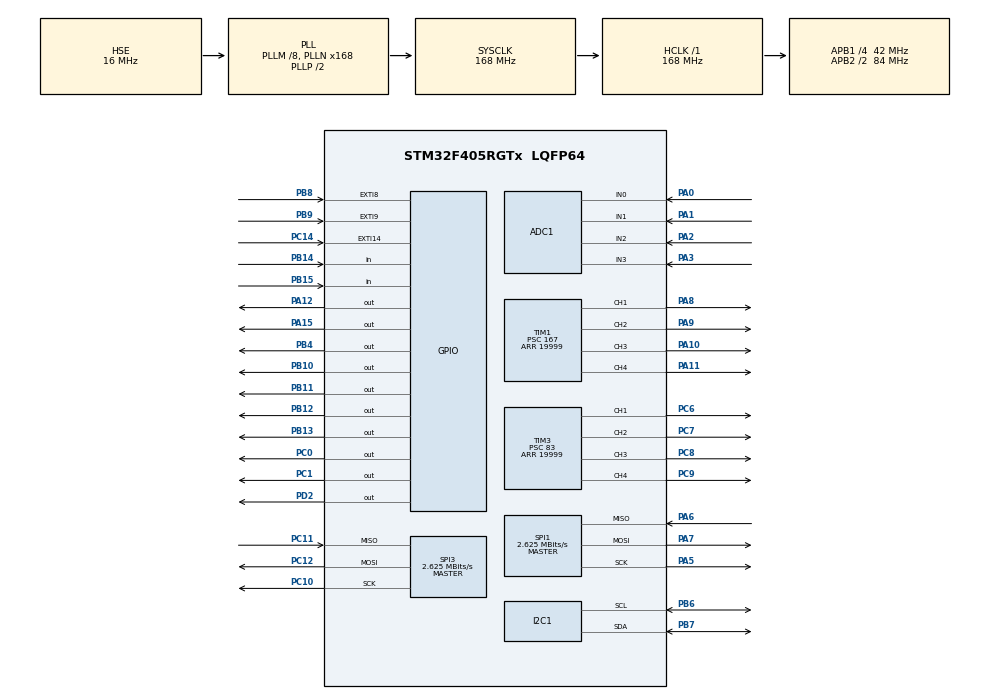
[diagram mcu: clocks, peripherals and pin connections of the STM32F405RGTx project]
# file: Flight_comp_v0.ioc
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ADC1.Channel-5\#ChannelRegularConversion=ADC_CHANNEL_0
ADC1.Channel-6\#ChannelRegularConversion=ADC_CHANNEL_1
ADC1.Channel-7\#ChannelRegularConversion=ADC_CHANNEL_2
ADC1.Channel-8\#ChannelRegularConversion=ADC_CHANNEL_3
ADC1.ClockPrescaler=ADC_CLOCK_SYNC_PCLK_DIV8
ADC1.ContinuousConvMode=DISABLE
ADC1.DMAContinuousRequests=ENABLE
ADC1.NbrOfConversion=4
ADC1.NbrOfConversionFlag=1
ADC1.Rank-5\#ChannelRegularConversion=1
ADC1.Rank-6\#ChannelRegularConversion=2
ADC1.Rank-7\#ChannelRegularConversion=3
ADC1.Rank-8\#ChannelRegularConversion=4
ADC1.SamplingTime-5\#ChannelRegularConversion=ADC_SAMPLETIME_15CYCLES
ADC1.SamplingTime-6\#ChannelRegularConversion=ADC_SAMPLETIME_15CYCLES
ADC1.SamplingTime-7\#ChannelRegularConversion=ADC_SAMPLETIME_15CYCLES
ADC1.SamplingTime-8\#ChannelRegularConversion=ADC_SAMPLETIME_15CYCLES
ADC1.master=1
Dma.ADC1.0.Direction=DMA_PERIPH_TO_MEMORY
Dma.ADC1.0.FIFOMode=DMA_FIFOMODE_DISABLE
Dma.ADC1.0.Instance=DMA2_Stream0
Dma.ADC1.0.MemDataAlignment=DMA_MDATAALIGN_HALFWORD
Dma.ADC1.0.MemInc=DMA_MINC_ENABLE
Dma.ADC1.0.Mode=DMA_CIRCULAR
Dma.ADC1.0.PeriphDataAlignment=DMA_PDATAALIGN_HALFWORD
Dma.ADC1.0.PeriphInc=DMA_PINC_DISABLE
Dma.ADC1.0.Priority=DMA_PRIORITY_LOW
Dma.Request0=ADC1
Dma.Request1=SPI3_RX
Dma.Request2=SPI3_TX
Dma.Request3=SPI1_RX
Dma.Request4=SPI1_TX
Dma.SPI1_RX.3.Direction=DMA_PERIPH_TO_MEMORY
Dma.SPI1_RX.3.FIFOMode=DMA_FIFOMODE_DISABLE
Dma.SPI1_RX.3.Instance=DMA2_Stream2
Dma.SPI1_RX.3.MemDataAlignment=DMA_MDATAALIGN_BYTE
Dma.SPI1_RX.3.MemInc=DMA_MINC_ENABLE
Dma.SPI1_RX.3.Mode=DMA_NORMAL
Dma.SPI1_RX.3.PeriphDataAlignment=DMA_PDATAALIGN_BYTE
Dma.SPI1_RX.3.PeriphInc=DMA_PINC_DISABLE
Dma.SPI1_RX.3.Priority=DMA_PRIORITY_HIGH
Dma.SPI1_TX.4.Direction=DMA_MEMORY_TO_PERIPH
Dma.SPI1_TX.4.FIFOMode=DMA_FIFOMODE_DISABLE
Dma.SPI1_TX.4.Instance=DMA2_Stream3
Dma.SPI1_TX.4.MemDataAlignment=DMA_MDATAALIGN_BYTE
Dma.SPI1_TX.4.MemInc=DMA_MINC_ENABLE
Dma.SPI1_TX.4.Mode=DMA_NORMAL
Dma.SPI1_TX.4.PeriphDataAlignment=DMA_PDATAALIGN_BYTE
Dma.SPI1_TX.4.PeriphInc=DMA_PINC_DISABLE
Dma.SPI1_TX.4.Priority=DMA_PRIORITY_HIGH
Dma.SPI3_RX.1.Direction=DMA_PERIPH_TO_MEMORY
Dma.SPI3_RX.1.FIFOMode=DMA_FIFOMODE_DISABLE
Dma.SPI3_RX.1.Instance=DMA1_Stream0
Dma.SPI3_RX.1.MemDataAlignment=DMA_MDATAALIGN_BYTE
Dma.SPI3_RX.1.MemInc=DMA_MINC_ENABLE
Dma.SPI3_RX.1.Mode=DMA_NORMAL
Dma.SPI3_RX.1.PeriphDataAlignment=DMA_PDATAALIGN_BYTE
Dma.SPI3_RX.1.PeriphInc=DMA_PINC_DISABLE
Dma.SPI3_RX.1.Priority=DMA_PRIORITY_HIGH
Dma.SPI3_TX.2.Direction=DMA_MEMORY_TO_PERIPH
Dma.SPI3_TX.2.FIFOMode=DMA_FIFOMODE_DISABLE
Dma.SPI3_TX.2.Instance=DMA1_Stream5
Dma.SPI3_TX.2.MemDataAlignment=DMA_MDATAALIGN_BYTE
Dma.SPI3_TX.2.MemInc=DMA_MINC_ENABLE
Dma.SPI3_TX.2.Mode=DMA_NORMAL
Dma.SPI3_TX.2.PeriphDataAlignment=DMA_PDATAALIGN_BYTE
Dma.SPI3_TX.2.PeriphInc=DMA_PINC_DISABLE
Dma.SPI3_TX.2.Priority=DMA_PRIORITY_HIGH
Mcu.Family=STM32F4
Mcu.Name=STM32F405RGTx
Mcu.Package=LQFP64
NVIC.DMA1_Stream0_IRQn=true\:0\:0\:false\:false\:true\:false\:true\:true
NVIC.DMA1_Stream5_IRQn=true\:0\:0\:false\:false\:true\:false\:true\:true
NVIC.DMA2_Stream0_IRQn=true\:0\:0\:false\:false\:true\:false\:true\:true
NVIC.DMA2_Stream2_IRQn=true\:0\:0\:false\:false\:true\:false\:true\:true
NVIC.DMA2_Stream3_IRQn=true\:0\:0\:false\:false\:true\:false\:true\:true
NVIC.EXTI15_10_IRQn=true\:0\:0\:false\:false\:true\:true\:true\:true
NVIC.EXTI9_5_IRQn=true\:0\:0\:false\:false\:true\:true\:true\:true
NVIC.PriorityGroup=NVIC_PRIORITYGROUP_4
PA0-WKUP.Signal=ADCx_IN0
PA1.Signal=ADCx_IN1
PA10.Signal=S_TIM1_CH3
PA11.Signal=S_TIM1_CH4
PA12.Signal=GPIO_Output
PA13.Mode=Trace_Asynchronous_SW
PA13.Signal=SYS_JTMS-SWDIO
PA14.Mode=Trace_Asynchronous_SW
PA14.Signal=SYS_JTCK-SWCLK
PA15.Signal=GPIO_Output
PA2.Signal=ADCx_IN2
PA3.Signal=ADCx_IN3
PA5.Mode=Full_Duplex_Master
PA5.Signal=SPI1_SCK
PA6.Mode=Full_Duplex_Master
PA6.Signal=SPI1_MISO
PA7.Mode=Full_Duplex_Master
PA7.Signal=SPI1_MOSI
PA8.Signal=S_TIM1_CH1
PA9.Signal=S_TIM1_CH2
PB10.Signal=GPIO_Output
PB11.Signal=GPIO_Output
PB12.Signal=GPIO_Output
PB13.Signal=GPIO_Output
PB14.GPIO_PuPd=GPIO_PULLDOWN
PB14.Signal=GPIO_Input
PB15.GPIO_PuPd=GPIO_PULLDOWN
PB15.Signal=GPIO_Input
PB3.Mode=Trace_Asynchronous_SW
PB3.Signal=SYS_JTDO-SWO
PB4.Signal=GPIO_Output
PB6.Mode=I2C
PB6.Signal=I2C1_SCL
PB7.Mode=I2C
PB7.Signal=I2C1_SDA
PB8.Signal=GPXTI8
PB9.GPIO_PuPd=GPIO_NOPULL
PB9.Signal=GPXTI9
PC0.Signal=GPIO_Output
PC1.Signal=GPIO_Output
PC10.Mode=Full_Duplex_Master
PC10.Signal=SPI3_SCK
PC11.Mode=Full_Duplex_Master
PC11.Signal=SPI3_MISO
PC12.Mode=Full_Duplex_Master
PC12.Signal=SPI3_MOSI
PC14-OSC32_IN.Signal=GPXTI14
PC6.Signal=S_TIM3_CH1
PC7.Signal=S_TIM3_CH2
PC8.Signal=S_TIM3_CH3
PC9.Signal=S_TIM3_CH4
PD2.Signal=GPIO_Output
PH0-OSC_IN.Mode=HSE-External-Clock-Source
PH0-OSC_IN.Signal=RCC_OSC_IN
PH1-OSC_OUT.Mode=HSE-External-Clock-Source
PH1-OSC_OUT.Signal=RCC_OSC_OUT
ProjectManager.HeapSize=0x200
ProjectManager.StackSize=0x400
ProjectManager.TargetToolchain=STM32CubeIDE
RCC.48MHZClocksFreq_Value=84000000
RCC.AHBFreq_Value=168000000
RCC.APB1CLKDivider=RCC_HCLK_DIV4
RCC.APB1Freq_Value=42000000
RCC.APB1TimFreq_Value=84000000
RCC.APB2CLKDivider=RCC_HCLK_DIV2
RCC.APB2Freq_Value=84000000
RCC.APB2TimFreq_Value=168000000
RCC.CortexFreq_Value=168000000
RCC.HCLKFreq_Value=168000000
RCC.HSE_VALUE=16000000
RCC.HSI_VALUE=16000000
RCC.LSE_VALUE=32768
RCC.PLLM=8
RCC.PLLN=168
RCC.PLLSourceVirtual=RCC_PLLSOURCE_HSE
RCC.SYSCLKFreq_VALUE=168000000
RCC.SYSCLKSource=RCC_SYSCLKSOURCE_PLLCLK
RCC.VCOOutputFreq_Value=336000000
SH.ADCx_IN0.0=ADC1_IN0,IN0
SH.ADCx_IN1.0=ADC1_IN1,IN1
SH.ADCx_IN2.0=ADC1_IN2,IN2
SH.ADCx_IN3.0=ADC1_IN3,IN3
SH.S_TIM1_CH1.0=TIM1_CH1,PWM Generation1 CH1
SH.S_TIM1_CH2.0=TIM1_CH2,PWM Generation2 CH2
SH.S_TIM1_CH3.0=TIM1_CH3,PWM Generation3 CH3
SH.S_TIM1_CH4.0=TIM1_CH4,PWM Generation4 CH4
SH.S_TIM3_CH1.0=TIM3_CH1,PWM Generation1 CH1
SH.S_TIM3_CH2.0=TIM3_CH2,PWM Generation2 CH2
SH.S_TIM3_CH3.0=TIM3_CH3,PWM Generation3 CH3
SH.S_TIM3_CH4.0=TIM3_CH4,PWM Generation4 CH4
SPI1.BaudRatePrescaler=SPI_BAUDRATEPRESCALER_32
SPI1.CalculateBaudRate=2.625 MBits/s
SPI1.Direction=SPI_DIRECTION_2LINES
SPI1.Mode=SPI_MODE_MASTER
SPI1.VirtualType=VM_MASTER
SPI3.BaudRatePrescaler=SPI_BAUDRATEPRESCALER_16
SPI3.CalculateBaudRate=2.625 MBits/s
SPI3.Direction=SPI_DIRECTION_2LINES
SPI3.Mode=SPI_MODE_MASTER
SPI3.VirtualType=VM_MASTER
TIM1.Channel-PWM\ Generation1\ CH1=TIM_CHANNEL_1
TIM1.Channel-PWM\ Generation2\ CH2=TIM_CHANNEL_2
TIM1.Channel-PWM\ Generation3\ CH3=TIM_CHANNEL_3
TIM1.Channel-PWM\ Generation4\ CH4=TIM_CHANNEL_4
TIM1.Period=19999
TIM1.Prescaler=167
TIM2.Period=0xFFFFFFFF
TIM2.Prescaler=83
TIM3.Channel-PWM\ Generation1\ CH1=TIM_CHANNEL_1
TIM3.Channel-PWM\ Generation2\ CH2=TIM_CHANNEL_2
TIM3.Channel-PWM\ Generation3\ CH3=TIM_CHANNEL_3
TIM3.Channel-PWM\ Generation4\ CH4=TIM_CHANNEL_4
TIM3.Period=19999
TIM3.Prescaler=83
VP_FATFS_VS_Generic.Mode=User_defined
VP_TIM1_VS_ClockSourceINT.Mode=Internal
VP_TIM2_VS_ClockSourceINT.Mode=Internal
VP_TIM3_VS_ClockSourceINT.Mode=Internal
board=custom

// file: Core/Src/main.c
/* USER CODE BEGIN Header */
/**
  ******************************************************************************
  * @file           : main.c
  * @brief          : Main program body
  ******************************************************************************
  * @attention
  *
  * Copyright (c) 2025 STMicroelectronics.
  * All rights reserved.
  *
  * This software is licensed under terms that can be found in the LICENSE file
  * in the root directory of this software component.
  * If no LICENSE file comes with this software, it is provided AS-IS.
  *
  ******************************************************************************
  */
/* USER CODE END Header */
#include "main.h"
#include "fatfs.h"

/* USER CODE BEGIN Includes */
#include "ff.h"
#include <stdio.h>
#include <string.h>
#include <stdarg.h>
#include "trinityfunctions.h"
/* USER CODE END Includes */

ADC_HandleTypeDef hadc1;
DMA_HandleTypeDef hdma_adc1;

I2C_HandleTypeDef hi2c1;

SPI_HandleTypeDef hspi1;
SPI_HandleTypeDef hspi3;
DMA_HandleTypeDef hdma_spi1_rx;
DMA_HandleTypeDef hdma_spi1_tx;
DMA_HandleTypeDef hdma_spi3_rx;
DMA_HandleTypeDef hdma_spi3_tx;

TIM_HandleTypeDef htim1;
TIM_HandleTypeDef htim2;
TIM_HandleTypeDef htim3;

void SystemClock_Config(void);
static void MX_GPIO_Init(void);
static void MX_DMA_Init(void);
static void MX_TIM1_Init(void);
static void MX_TIM3_Init(void);
static void MX_SPI1_Init(void);
static void MX_SPI3_Init(void);
static void MX_ADC1_Init(void);
static void MX_I2C1_Init(void);
static void MX_TIM2_Init(void);

/* USER CODE BEGIN 0 */
#define PI 3.1415926535897932384626433832795

uint8_t IMU_tag_buff[15] = {}; //temp, acc, gyro
uint8_t Bar_pt_buff[6] = {};
float gyro[3] = {0};//body frame
float gyro_offset[3] = {};
float acc_raw[3] = {};
float acc[3] = {0,0,9.80665};//body frame. initialized like this since it goes through a complementary filter
float acc_earth[3] = {};//earth frame
float vel_earth[3] = {};//earth frame
float pos_earth[3] = {};//earth frame
float acc_offset[4] = {};//offset x,y,z and norm

float body_quat[4] = {1,0,0,0};
float target_quat[4] = {1,0,0,0};
float target_gyro[3] = {};
float relative_quat[4]; //quaternion that represents the relative rotation between the body and target quaternions. Specifically, relative = quat_multiply(body,conj(target))
float axang[4] = {};

float thetas[3] = {};
float gammas[3] = {};
float Forces[3] = {};//{12,12,12};
float ReqTorque[3] = {};
float diff = 0;

float alt = 0;//bar alt
float filtered_alt = 0;
#define ADC_CHANNEL_COUNT 4
float voltages[ADC_CHANNEL_COUNT] = {};        // Converted voltages
long counter = 0;

uint8_t TxBufA_with_cmd[4+256] = {0x02}; //tx flash buffers: 1*(cmd) + 3*(mem addr) + 256*(data)
uint8_t TxBufB_with_cmd[4+256] = {0x02};
uint8_t* TxBufA = TxBufA_with_cmd + 4;
uint8_t* TxBufB = TxBufB_with_cmd + 4;

uint8_t FastRxBufA_with_cmd[5+256] = {}; //FAST READ ONLY rx flash buffers: 1*(cmd) + 3*(mem addr) + 1*(dummy) + any_amount*(data) , in this case 256 data
uint8_t FastRxBufB_with_cmd[5+256] = {};
uint8_t* FastRxBufA = FastRxBufA_with_cmd + 5;
uint8_t* FastRxBufB = FastRxBufB_with_cmd + 5;

uint8_t RxBufA_with_cmd[4+256] = {}; //standard read rx flash buffers: 1*(cmd) + 3*(mem addr) + any_amount*(data) , in this case 256 data
uint8_t RxBufB_with_cmd[4+256] = {};
uint8_t* RxBufA = RxBufA_with_cmd + 4;
uint8_t* RxBufB = RxBufB_with_cmd + 4;

typedef enum {
	NOT_LOGGING,
	LOGGING_FLASH,
	LOGGING_SD
} LoggingState;
LoggingState loggingstate = NOT_LOGGING; //d

typedef enum {
	IDLE,
	VECTORING,
	ASCENT,
	DESCENT
} RocketState;
RocketState rocketstate = IDLE;

/* USER CODE END 0 */

int main(void)
{

  /* MCU Configuration--------------------------------------------------------*/

  /* Reset of all peripherals, Initializes the Flash interface and the Systick. */
  HAL_Init();

  /* Configure the system clock */
  SystemClock_Config();

  /* Initialize all configured peripherals */
  MX_GPIO_Init();
  MX_DMA_Init();
  MX_TIM1_Init();
  MX_TIM3_Init();
  MX_SPI1_Init();
  MX_FATFS_Init();
  MX_SPI3_Init();
  MX_ADC1_Init();
  MX_I2C1_Init();
  MX_TIM2_Init();
  /* USER CODE BEGIN 2 */

  HAL_Delay(2000);
  HAL_TIM_PWM_Start(&htim3, TIM_CHANNEL_1);
  HAL_TIM_PWM_Start(&htim3, TIM_CHANNEL_2);
  HAL_TIM_PWM_Start(&htim3, TIM_CHANNEL_3);
  HAL_TIM_PWM_Start(&htim3, TIM_CHANNEL_4);
  HAL_TIM_PWM_Start(&htim1, TIM_CHANNEL_1);
  HAL_TIM_PWM_Start(&htim1, TIM_CHANNEL_2);
  HAL_TIM_PWM_Start(&htim1, TIM_CHANNEL_3);//chute

  //HAL_TIM_PWM_Start(&htim1, TIM_CHANNEL_3);

  HAL_TIM_Base_Start(&htim2); //timer to count microseconds

  uint16_t adc_dma_buf[ADC_CHANNEL_COUNT] = {};  // Raw ADC data
  HAL_ADC_Start_DMA(&hadc1, adc_dma_buf, ADC_CHANNEL_COUNT);

  int16_t temp_raw = 0;
  float temperature;
  float temperature_bar;

  HAL_GPIO_WritePin(GPIOC, GPIO_PIN_1, GPIO_PIN_SET);  //chip select Barometer
  HAL_GPIO_WritePin(GPIOC, GPIO_PIN_0, GPIO_PIN_SET);  //chip select IMU
  HAL_GPIO_WritePin(GPIOB, GPIO_PIN_10, GPIO_PIN_SET); //chip select NOR Flash
  HAL_GPIO_WritePin(GPIOB, GPIO_PIN_11, GPIO_PIN_SET); //chip select SD

  HAL_GPIO_WritePin(GPIOB, GPIO_PIN_12, GPIO_PIN_RESET); //output to pad pb12
  HAL_GPIO_WritePin(GPIOB, GPIO_PIN_13, GPIO_PIN_RESET); //output to pad pb13

  HAL_GPIO_WritePin(GPIOB, GPIO_PIN_4, GPIO_PIN_SET); //YELLOW LED ON TO SIGNAL HOLDING

  __HAL_TIM_SET_COMPARE(&htim1, TIM_CHANNEL_3, 1900);//close chute

  /*
██╗  ██╗ ██████╗ ██╗     ██████╗ ██╗███╗   ██╗ ██████╗
██║  ██║██╔═══██╗██║     ██╔══██╗██║████╗  ██║██╔════╝
███████║██║   ██║██║     ██║  ██║██║██╔██╗ ██║██║  ███╗
██╔══██║██║   ██║██║     ██║  ██║██║██║╚██╗██║██║   ██║
██║  ██║╚██████╔╝███████╗██████╔╝██║██║ ╚████║╚██████╔╝
╚═╝  ╚═╝ ╚═════╝ ╚══════╝╚═════╝ ╚═╝╚═╝  ╚═══╝ ╚═════╝
*/
  //blocking the execution unless the state isn't "NONE" anymore
  UmbilicalState umb_input = NONE;
  //umb_input = LAUNCH; //bypass for debugging
  while (umb_input == NONE) {
	  UmbilicalState temp_umb_input = read_umbilical();
	  HAL_Delay(500);
	  if (temp_umb_input == read_umbilical()) {
		  umb_input = temp_umb_input; //double reading to be sure the command is correctly read
	  }
  }

  //if (umb_input == TEST) {umb_input = LAUNCH;} //bypass since one gpio got unsoldered (faulty)

  HAL_GPIO_WritePin(GPIOB, GPIO_PIN_4, GPIO_PIN_RESET); //YELLOW LED OFF

  initIMU(&hspi3, IMU_tag_buff); //passes also the buffer address for later use
  initBar(&hspi3, Bar_pt_buff);

  //float barvar = get_barometer_variance(&hspi3, 10000); //got ~0.02

  if (umb_input == LAUNCH) {
	  block_erase(&hspi1, 0);//blocking, erases 64kb of data starting from address 0x00
	  loggingstate = LOGGING_FLASH;
	  //takes about 12 secs
	  for (int nblock = 0; nblock < 100; nblock++) { //flash erase cycles
		  block_erase(&hspi1, nblock*0x10000);//delay incorporated in the function (250ms)
		  HAL_GPIO_TogglePin(GPIOD, GPIO_PIN_2); //BLUE LED TOGGLE
	  }
	  HAL_GPIO_WritePin(GPIOD, GPIO_PIN_2, GPIO_PIN_RESET); //BLUE LED OFF
  }

  if (umb_input == LOG) {
		loggingstate=LOGGING_SD;
		set_flash_add(0xFFFFFF);//reads up all the flash
  }

  //two calibrations. The first is just to get the MEMS to temperature or operating contitions
  IMU_Calibration(&hspi3, gyro_offset, acc_offset, 10000); //SPI_HandleTypeDef *hspi, float *gyro_offset, float *acc0, int n_cycles
  IMU_Calibration(&hspi3, gyro_offset, acc_offset, 10000);

  //NOR FLASH TRY CODE
  /*
  //uint8_t flash_status = is_flash_busy(&hspi1);
  //TxBufA[16] = 11;
  for (int i=0;i<100;i++) {
	  TxBufA[i] = i;
  }
  if (is_SPI1_done()) {
	  flash_program(TxBufA_with_cmd, &hspi1);//transmits 256 bytes of data;
  }
  HAL_Delay(1000);
  //flash_status = is_flash_busy(&hspi1);

  if (!is_flash_busy(&hspi1)) {
      read_flash(RxBufA_with_cmd ,20, &hspi1);
  }
  HAL_Delay(1000);

  //flash_status = is_flash_busy(&hspi1);
  if (!is_flash_busy(&hspi1)) {
	  fast_read_flash(FastRxBufA_with_cmd ,20, &hspi1);
  }*/

  //SD INITIALIZATION
  //blog post made by the maker of the library: https://01001000.xyz/2020-08-09-Tutorial-STM32CubeIDE-SD-card/
  //library used for SD CARD: https://github.com/kiwih/cubeide-sd-card
  //Video used for SD CARD: https://youtu.be/spVIZO-jbxE?si=KLvULVrA2ofx23bV
  FATFS fs;       // File system object
  FIL file;       // File object
  FIL file2;
  FRESULT res;    // FatFS result type
  UINT bw;        // Bytes written
  UINT br;        // Bytes read
  HAL_Delay(1000);
  // Mount the filesystem
  res = f_mount(&fs, "", 1);
  if (res != FR_OK) {
      // Handle error (e.g., no card present)
      Error_Handler();
  }
  // Open or create file
  if (umb_input == LAUNCH) {
	  res = f_open(&file, "data.txt", FA_CREATE_ALWAYS | FA_WRITE);
	  if (res != FR_OK) {
		  // Handle file open error
		  Error_Handler();
	  }
  } else if (umb_input == LOG) {
	  res = f_open(&file, "log.txt", FA_CREATE_ALWAYS | FA_WRITE);
	  if (res != FR_OK) {
		  // Handle file open error
		  Error_Handler();
	  }
  } else if (umb_input == TEST) {
	  res = f_open(&file, "data.txt", FA_READ);
	  if (res != FR_OK) {
		  // Handle file open error
		  Error_Handler();
	  }
	  res = f_open(&file2, "re_iter.txt", FA_CREATE_ALWAYS | FA_WRITE); //file that contains the re-elaborated data
	  if (res != FR_OK) {
		  // Handle file open error
		  Error_Handler();
	  }
  }

/*
  // Write text to file
  char text[] = "Hello from STM32!\r\n";
  uint8_t datatry[6] = {0,1,0,2,3,4};
  //res = f_write(&file, text, strlen(text), &bw);
  res = f_write(&file, datatry, sizeof(datatry), &bw);
  if (res != FR_OK || bw == 0) {
      // Handle write error
      Error_Handler();
  }

  //equivalent of flushing. Secures the data written but keeps the file open
  f_sync(&file);*/

  // Close the file
  //f_close(&file);

  // Optional: unmount the filesystem
  //f_mount(NULL, "", 1);

	float press_bar = 0;
	int32_t press_raw = 0;
	float corrected_press = 0;

	uint32_t counter = 0;
	uint32_t tick = 0;
	uint32_t tock = 0;
	uint32_t tic=0;
	uint32_t toc=0;
	uint32_t elaps = 0;
	uint32_t micro_elaps = 0;
	uint16_t write_faults = 0;

	uint32_t t0 = HAL_GetTick();

	if (umb_input == LAUNCH) { //creates the setup line in the flash
		//good to go
		HAL_GPIO_WritePin(GPIOB, GPIO_PIN_12, GPIO_PIN_SET); //output to pad pb12
		HAL_GPIO_WritePin(GPIOB, GPIO_PIN_13, GPIO_PIN_SET); //output to pad pb13 GOOD TO GO FOR LAUNCH
		//indicator led
		HAL_GPIO_WritePin(GPIOA, GPIO_PIN_15, GPIO_PIN_SET); //RED LED ON

		//first page of flash programmed with setup data:
		uint8_t TxBufTEMP_with_cmd[4+256] = {0x02}; //tx flash buffer: 1*(cmd) + 3*(mem addr) + 256*(data)
		uint8_t* TxBufTEMP = TxBufTEMP_with_cmd + 4;
		uint32_t fill_idxTEMP = 0;

		//t0, gyro_offset, acc_offset
		memcpy(TxBufTEMP + fill_idxTEMP, &t0, sizeof(t0)); //to , from , how many
		fill_idxTEMP += sizeof(t0);

		memcpy(TxBufTEMP + fill_idxTEMP, gyro_offset, sizeof(gyro_offset));
		fill_idxTEMP += sizeof(gyro_offset);

		memcpy(TxBufTEMP + fill_idxTEMP, acc_offset, sizeof(acc_offset));
		fill_idxTEMP += sizeof(acc_offset);

		flash_program(TxBufTEMP_with_cmd, &hspi1);
	}

	if (umb_input == TEST) { //decodes the setup line from the SD to the corresponding variables
		uint8_t transfer_buffer[64]; //buffer that stores the read bytes
		res = f_read(&file, transfer_buffer, 64, &br);
		uint8_t idx = 0;
		memcpy(&t0, transfer_buffer, sizeof(t0));//to , from , how many
		idx += sizeof(t0);
		memcpy(gyro_offset, transfer_buffer + idx, sizeof(gyro_offset));
		idx += sizeof(gyro_offset);
		memcpy(acc_offset, transfer_buffer + idx, sizeof(acc_offset));
	}

  /* USER CODE END 2 */

  /* Infinite loop */
  while (1)
  {

    /* USER CODE BEGIN 3 */
	tic = HAL_GetTick(); //millis
	tick = my_micros(&htim2); //micros

	if ((tic-t0>1500) && (umb_input == LAUNCH) && (tic-t0<2000)) {
		//disable launch command after 1.5 sec, to ensure that ignition doesn't happen after too much time.
		HAL_GPIO_WritePin(GPIOB, GPIO_PIN_12, GPIO_PIN_RESET); //output to pad pb12
		HAL_GPIO_WritePin(GPIOB, GPIO_PIN_13, GPIO_PIN_RESET); //output to pad pb13
		HAL_GPIO_WritePin(GPIOA, GPIO_PIN_15, GPIO_PIN_RESET); //RED LED OFF
	}

	typedef enum {
	    FILLING_BUF_A,
	    FILLING_BUF_B
	} BufferState;
	static BufferState bufferstate = FILLING_BUF_A;

	//READINGS
	if (umb_input == LAUNCH) { //reads only if the command was read as LAUNCH (avoids overwriting of the buffers during reiteration of the data if umb_input==TEST)
		if (is_ADC_done()) {
			ADC_to_voltages(adc_dma_buf,voltages);
			HAL_ADC_Start_DMA(&hadc1,adc_dma_buf, 4);
		}
		if (is_SPI3_done()) {
			read_IMU_Bar(&hspi3, IMU_tag_buff, Bar_pt_buff);
		}
	}

	if ((umb_input == TEST)&&(counter<=19000)) { //copies some of the needed values stored in the file, to their corresponding variable

		//res = f_open(&file, "data.txt", FA_READ);

		static uint32_t offset = 256; //skips the first page since it has only setup data

		res = f_lseek(&file, offset); //positions the read pointer at the offset

		#define RECORD_SIZE 100 //should be the same as the "packet_size" used to record the data in question
		uint8_t transfer_buffer[RECORD_SIZE]; //buffer that stores the read bytes
		res = f_read(&file, transfer_buffer, RECORD_SIZE, &br);

		uint32_t copy_idx = 0;
		//memcpy(&counter, transfer_buffer + copy_idx, sizeof(counter));//to , from , how many
		copy_idx += sizeof(counter);
		memcpy(&tic, transfer_buffer + copy_idx, sizeof(tic));
		copy_idx += sizeof(tic);
		memcpy(&micro_elaps, transfer_buffer + copy_idx, sizeof(micro_elaps));
		copy_idx += sizeof(micro_elaps);
		memcpy(IMU_tag_buff+1, transfer_buffer + copy_idx, sizeof(IMU_tag_buff)-1); //the first byte is empty
		copy_idx += sizeof(IMU_tag_buff)-1;
		memcpy(target_gyro, transfer_buffer + copy_idx, sizeof(target_gyro));
		copy_idx += sizeof(target_gyro);
		//memcpy(thetas, transfer_buffer + copy_idx, sizeof(thetas));//12
		copy_idx += sizeof(thetas);
		//memcpy(gammas, transfer_buffer + copy_idx, sizeof(gammas));//12
		copy_idx += sizeof(gammas);
		//memcpy(ReqTorque, transfer_buffer + copy_idx, sizeof(ReqTorque));//12
		copy_idx += sizeof(ReqTorque);
		memcpy(voltages, transfer_buffer + copy_idx, sizeof(voltages));//16
		copy_idx += sizeof(voltages);
		//memcpy(&press_bar, transfer_buffer + copy_idx, sizeof(press_bar));//4
		copy_idx += sizeof(press_bar);
		//memcpy(&filtered_alt, transfer_buffer + copy_idx, sizeof(filtered_alt));//4
		copy_idx += sizeof(filtered_alt);
		//memcpy(&write_faults, transfer_buffer + copy_idx, sizeof(write_faults));//2
		copy_idx += sizeof(write_faults);

		if (counter%2 == 0) {
			offset += 100;
		} else {
			offset += 156;
		}

		if (counter%100 == 0) {

		}
	}

	//all engine activated at least once:
	/*static uint8_t all_engines = 0;
	if (!all_engines) {
		static uint8_t engine_state[3] = {};
		for (int i=0;i<3;i++) {
			if (voltages[i]>=0.4) {engine_state[i] = 1;};
		}
		if ((engine_state[0]+engine_state[1]+engine_state[2])==3) {
			HAL_GPIO_WritePin(GPIOB, GPIO_PIN_4, GPIO_PIN_SET); //YELLOW LED ON
			all_engines = 1;
		}
	}*/

	//all engines activated LED:
	uint8_t engine_state[3] = {};
	for (int i=0;i<3;i++) {
		if (voltages[i]>=0.4) {
			engine_state[i] = 1;
		} else {engine_state[i] = 0;}
	}
	if ((engine_state[0] + engine_state[1] + engine_state[2]) == 3) {
		HAL_GPIO_WritePin(GPIOB, GPIO_PIN_4, GPIO_PIN_SET); //YELLOW LED ON
	} else {
		//HAL_GPIO_WritePin(GPIOB, GPIO_PIN_4, GPIO_PIN_RESET); //YELLOW LED OFF
	}

	//Voltage -> Force

	for (int i=0;i<3;i++) {
		if (voltages[i]>=0.4) {
			Forces[i] = 9;//9 Newtons if D9 engine. 12 Newtons if E12 engine. E12 were used in the static tests
		} else {
			Forces[i] = 0;
		}
	}

	get_gyro(IMU_tag_buff, gyro_offset, gyro);//processes gyro data by offsetting, and by bringing it to the right reference frame (IMU to rocket frame)
	get_acc(IMU_tag_buff, acc_offset, acc, acc_raw);

	moving_average_gyro(gyro);
	moving_average_acc(acc);

	static uint8_t detect_launch = 0;
	static uint32_t launch_time = 0;
	if (acc[2] >= 12) { // m/s^2
		if (detect_launch == 0) {
			launch_time = HAL_GetTick();
			//HAL_GPIO_WritePin(GPIOB, GPIO_PIN_4, GPIO_PIN_SET);//YELLOW LED ON
		}
		detect_launch = 1;
	}

	/*if ((tic-launch_time) >= 1000) {
		HAL_GPIO_WritePin(GPIOB, GPIO_PIN_4, GPIO_PIN_RESET);//YELLOW LED OFF
		detect_launch = 0;
	}*/

	if (detect_launch == 1) {
		float t = (tic-launch_time)/1000.0;//time in seconds since launch detection
		float k = 4; //compactness
		float T = 1; //middle of sigmoid
		float angle = PI/2; //angle of rotation
		const float sqrt_pi = 1.77245385091;
		float induced = k*exp( -pow(k*(t-T),2) )/sqrt_pi*angle; //gaussian distribution function. Its primitive is a sigmoid
		target_gyro[2] = induced;
	}

	gyro2quat_integration(gyro, body_quat, micro_elaps); //gets the body quaternion
	gyro2quat_integration(target_gyro, target_quat, micro_elaps); //gets the target quaternion
	get_relative_quat(body_quat, target_quat, relative_quat); //finds the relative quat between body and target
	quat2axang(relative_quat, axang);

	get_earth_acc(acc, body_quat, acc_earth);//gets the acceleration vector in the body frame, with acceleration of gravity removed
	get_vel_pos(pos_earth, vel_earth, acc_earth, micro_elaps);

	updateReqTorque(axang, gyro, target_gyro, body_quat, target_quat, ReqTorque, micro_elaps);
	//get_parabVertex_angles(thetas, gammas, Forces, ReqTorque);
	get_angles_RMS_and_paraboloid(thetas, gammas, Forces, ReqTorque, &diff);
	writeServos(thetas, gammas, &htim1, &htim3); //refers just to the 6 thrust vectoring servos, not to the parachute deploying servo

	//Barometer computing
	press_bar = get_press(Bar_pt_buff);
	temperature_bar = get_bar_temp(Bar_pt_buff);
	//IMU temp
	temp_raw = (int16_t)((IMU_tag_buff[1] << 8) | IMU_tag_buff[2]);//IMU temp bytes
	temperature = temp_raw / 128.0 + 25.0; //IMU temperature conversion
	corrected_press = (temperature + 273.15) / (temperature_bar + 273.15) * press_bar; //Barometer temperature readings are trash. Use pv=nrt to correct, using IMU's temperature

	alt = get_bar_alt(press_bar);
	filtered_alt = filter_altitude(alt, acc_earth[2], micro_elaps);//KALMAN. Accelerometer is used as the control input and for the estimate state. barometer is used as the measurement

	if ((umb_input == LAUNCH)&&(tic-t0 >= 2000)) {//Chute deployment check
		static uint8_t check_alt = 1;
		static uint32_t check_time = 0;

		if ((tic - check_time) >= 500) {
			check_alt = 1;
		}

		if (check_alt == 1) {
			check_time = tic;
			check_alt = 0;
			static uint8_t consecutive = 0;
			static float prev_alt = -100000;

			float curr_alt = pos_earth[2];
			if ((curr_alt - prev_alt) <= -0.5) {
				consecutive += 1 ;
			} else {consecutive = 0;}

			prev_alt = curr_alt;

			if (consecutive == 2) {
				//OPEN CHUTE COMMAND
				//REMEMBER TO PUT THE CHUTE OPEN COMMAND!!!!!!
				HAL_GPIO_WritePin(GPIOA, GPIO_PIN_15, GPIO_PIN_SET); //RED LED ON
				__HAL_TIM_SET_COMPARE(&htim1, TIM_CHANNEL_3, 900);//open chute
			}
		}

	}

	if ((umb_input == TEST)&&(counter<=19000)) {
		f_write(&file2, pos_earth + 2, sizeof(diff), &bw);
	}
	if ((umb_input == TEST)&&(counter>19000)) {
		HAL_GPIO_WritePin(GPIOD, GPIO_PIN_2, GPIO_PIN_SET); //BLUE LED ON
		f_sync(&file2);
	}

	//if (counter>10&&counter<20) {loggingstate=LOGGING_SD;}
	//if (counter>20) {loggingstate=NOT_LOGGING;}

	if (umb_input == LAUNCH) { //logging logic
		if (tic-t0>20000) {loggingstate=LOGGING_SD;} //logs to flash for 20 sec
	}

	if (loggingstate == LOGGING_FLASH) {//logs to flash
		static unsigned int fill_idx = 0; //to know at what index of the buffer we are at
		static const unsigned int buffer_size = 256; //sizeof(TxBufA) / sizeof(TxBufA[0]);//DIVISION DOESNT WORK since txbufa is a pointer//assume BufA and BufB are of the same size. the division is added for "the concept", but the denominator has value 1
		static const unsigned int packet_size = 100;//placeholder for now. consider calculating once, after the first data packet is created
		static const unsigned int max_start_idx = buffer_size - packet_size; //max_idx at which we can start writing

		if (fill_idx > max_start_idx) {//if the buffer is full or if it would overflow when writing

			//if the execution enters here, then the last used buffer is good to go to be written.
			//Selects the last used buffer, before we change the buffer state
			uint8_t *WriteBuf = (bufferstate == FILLING_BUF_A) ? TxBufA_with_cmd : TxBufB_with_cmd;
			if(is_SPI1_done()) {
				if (!is_flash_busy(&hspi1)) {
					static uint32_t time_of_program = 0;
					while( my_micros(&htim2)-time_of_program < 650) {}
					flash_program(WriteBuf, &hspi1);
					time_of_program = my_micros(&htim2);
					//flash_program is currently non blocking, but takes 0.6ms. MAKE SURE THIS TIME HAS ELAPSED BEFORE ATTEMPTING A WRITE OPERATION
					//The check can be done with a variable that checks how much time has passed, but this wouln't resolve the data overflow, and some of it would be loss.
					//To really resolve overflow, reduce the number of bytes that get written to the flash at each loop.
					//HAL_Delay(2);
				} else write_faults += 1; //signals that an attempt to page_program was done but the previous page_program wasn't completed
			} else write_faults += 1; //signals that one buffer was skipped

			bufferstate ^= 1; //flips buffer state with XOR gate (FILLING_BUF_A <----> FILLING_BUF_B)
			fill_idx = 0;
		}

		uint8_t *Buffer = (bufferstate == FILLING_BUF_A) ? TxBufA : TxBufB; //sets what buffer we are about to fill

		//ALL THE SIZES COMBINED NEED TO ADD UP TO packet_size

		//time and pacing data
		memcpy(Buffer + fill_idx, &counter, sizeof(counter)); //to , from , how many
		fill_idx += sizeof(counter);

		memcpy(Buffer + fill_idx, &tic, sizeof(tic));
		fill_idx += sizeof(tic);

		memcpy(Buffer + fill_idx, &micro_elaps, sizeof(micro_elaps));
		fill_idx += sizeof(micro_elaps);//4 bytes

		//memcpy(Buffer + fill_idx, gyro_offset, sizeof(gyro_offset));//12 bytes
		//fill_idx += sizeof(gyro_offset);
		//memcpy(Buffer + fill_idx, acc_offset, sizeof(acc_offset));
		//fill_idx += sizeof(acc_offset);

		//memcpy(Buffer + fill_idx, gyro, sizeof(gyro));
		//fill_idx += sizeof(gyro);
		//memcpy(Buffer + fill_idx, acc_raw, sizeof(acc_raw));
		//fill_idx += sizeof(acc_raw);
		//memcpy(Buffer + fill_idx, acc, sizeof(acc));
		//fill_idx += sizeof(acc);

		memcpy(Buffer + fill_idx, IMU_tag_buff+1, sizeof(IMU_tag_buff)-1); //the first byte is empty
		fill_idx += sizeof(IMU_tag_buff)-1;

		//memcpy(Buffer + fill_idx, acc_earth, sizeof(acc_earth));
		//fill_idx += sizeof(acc_earth);
		//memcpy(Buffer + fill_idx, vel_earth, sizeof(vel_earth));
		//fill_idx += sizeof(vel_earth);
		//memcpy(Buffer + fill_idx, pos_earth, sizeof(pos_earth));
		//fill_idx += sizeof(pos_earth);//9*12

		//memcpy(Buffer + fill_idx, body_quat, sizeof(body_quat));//16 bytes
		//fill_idx += sizeof(body_quat);
		//memcpy(Buffer + fill_idx, target_quat, sizeof(target_quat));//16
		//fill_idx += sizeof(target_quat);
		memcpy(Buffer + fill_idx, target_gyro, sizeof(target_gyro));//12
		fill_idx += sizeof(target_gyro);
		//memcpy(Buffer + fill_idx, relative_quat, sizeof(relative_quat));//16
		//fill_idx += sizeof(relative_quat);
		//memcpy(Buffer + fill_idx, axang, sizeof(axang));//16
		//fill_idx += sizeof(axang);

		memcpy(Buffer + fill_idx, thetas, sizeof(thetas));//12
		fill_idx += sizeof(thetas);
		memcpy(Buffer + fill_idx, gammas, sizeof(gammas));//12
		fill_idx += sizeof(gammas);
		//memcpy(Buffer + fill_idx, Forces, sizeof(Forces));//12
		//fill_idx += sizeof(Forces);
		memcpy(Buffer + fill_idx, ReqTorque, sizeof(ReqTorque));//12
		fill_idx += sizeof(ReqTorque);

		memcpy(Buffer + fill_idx, voltages, sizeof(voltages));//16
		fill_idx += sizeof(voltages);
		//memcpy(Buffer + fill_idx, &alt, sizeof(alt));//4
		//fill_idx += sizeof(alt);
		memcpy(Buffer + fill_idx, &press_bar, sizeof(press_bar));//4
		fill_idx += sizeof(press_bar);
		memcpy(Buffer + fill_idx, &filtered_alt, sizeof(filtered_alt));//4
		fill_idx += sizeof(filtered_alt);

		memcpy(Buffer + fill_idx, &write_faults, sizeof(write_faults));//2
		fill_idx += sizeof(write_faults);

	}

	if (loggingstate == LOGGING_SD) {

		static uint16_t SD_faults = 0; //consider making this global so it can be logged

		uint32_t last_addr = get_flash_add() + 255;//returns the last flash address at which we wrote a byte.
		//get_flash_add gives the start of the page. +255 brings to the last byte, since every page_program writes 256 bytes

		static uint32_t read_addr = 0; //address at which we want to read
		uint32_t nbytes = 256;//Reading the flash is not limited to reading 256 bytes, so consider increasing this number. You would have to edit the function fast_read, and SDbuf_with_cmd
		uint8_t SDbuf_with_cmd[256+5] = {};//fast read is +5, read is +4 //REMEMBER TO PLACE nbytes here correctly in the size
		uint8_t *SDbuf = SDbuf_with_cmd + 5;

		if (read_addr <= last_addr) { //if we haven't read everything that was written yet

			HAL_GPIO_WritePin(GPIOD, GPIO_PIN_2, GPIO_PIN_RESET); //BLUE LED OFF

			if (is_SPI1_done()) { //READ FROM FLASH
				if (!is_flash_busy(&hspi1)) { //put here for safety, but the RDY bit is not set to 0 when reading
					fast_read_flash(SDbuf_with_cmd, nbytes, read_addr, &hspi1);
					read_addr += nbytes;//increments read address by the number of bytes read
				} else SD_faults+=1;
			} else SD_faults+=1;

			if (is_SPI1_done()) { //WRITE TO SD
				if (!is_flash_busy(&hspi1)) {
					f_write(&file, SDbuf, nbytes, &bw); //fwrite doesnt set the spi1_done variable to 0, but it should be blocking so there shouldnt be any issue

					if (counter%10 == 0) {//syncs every 10 loops
						f_sync(&file);
					}

				} else SD_faults+=1;
			} else SD_faults+=1;
		} else {
			HAL_GPIO_WritePin(GPIOD, GPIO_PIN_2, GPIO_PIN_SET); //BLUE LED ON
			f_sync(&file);
		}

	}

	toc = HAL_GetTick();
	tock = my_micros(&htim2);

	elaps = toc-tic; //stops with breakpoints
	micro_elaps = tock-tick; //doesn't stop with breakpoints, keeps counting
	counter ++;

  }
  /* USER CODE END 3 */
}

void SystemClock_Config(void)
{
  RCC_OscInitTypeDef RCC_OscInitStruct = {0};
  RCC_ClkInitTypeDef RCC_ClkInitStruct = {0};

  /** Configure the main internal regulator output voltage
  */
  __HAL_RCC_PWR_CLK_ENABLE();
  __HAL_PWR_VOLTAGESCALING_CONFIG(PWR_REGULATOR_VOLTAGE_SCALE1);

  /** Initializes the RCC Oscillators according to the specified parameters
  * in the RCC_OscInitTypeDef structure.
  */
  RCC_OscInitStruct.OscillatorType = RCC_OSCILLATORTYPE_HSE;
  RCC_OscInitStruct.HSEState = RCC_HSE_BYPASS;
  RCC_OscInitStruct.PLL.PLLState = RCC_PLL_ON;
  RCC_OscInitStruct.PLL.PLLSource = RCC_PLLSOURCE_HSE;
  RCC_OscInitStruct.PLL.PLLM = 8;
  RCC_OscInitStruct.PLL.PLLN = 168;
  RCC_OscInitStruct.PLL.PLLP = RCC_PLLP_DIV2;
  RCC_OscInitStruct.PLL.PLLQ = 4;
  if (HAL_RCC_OscConfig(&RCC_OscInitStruct) != HAL_OK)
  {
    Error_Handler();
  }

  /** Initializes the CPU, AHB and APB buses clocks
  */
  RCC_ClkInitStruct.ClockType = RCC_CLOCKTYPE_HCLK|RCC_CLOCKTYPE_SYSCLK
                              |RCC_CLOCKTYPE_PCLK1|RCC_CLOCKTYPE_PCLK2;
  RCC_ClkInitStruct.SYSCLKSource = RCC_SYSCLKSOURCE_PLLCLK;
  RCC_ClkInitStruct.AHBCLKDivider = RCC_SYSCLK_DIV1;
  RCC_ClkInitStruct.APB1CLKDivider = RCC_HCLK_DIV4;
  RCC_ClkInitStruct.APB2CLKDivider = RCC_HCLK_DIV2;

  if (HAL_RCC_ClockConfig(&RCC_ClkInitStruct, FLASH_LATENCY_5) != HAL_OK)
  {
    Error_Handler();
  }
}

static void MX_ADC1_Init(void)
{

  ADC_ChannelConfTypeDef sConfig = {0};

  /** Configure the global features of the ADC (Clock, Resolution, Data Alignment and number of conversion)
  */
  hadc1.Instance = ADC1;
  hadc1.Init.ClockPrescaler = ADC_CLOCK_SYNC_PCLK_DIV8;
  hadc1.Init.Resolution = ADC_RESOLUTION_12B;
  hadc1.Init.ScanConvMode = ENABLE;
  hadc1.Init.ContinuousConvMode = DISABLE;
  hadc1.Init.DiscontinuousConvMode = DISABLE;
  hadc1.Init.ExternalTrigConvEdge = ADC_EXTERNALTRIGCONVEDGE_NONE;
  hadc1.Init.ExternalTrigConv = ADC_SOFTWARE_START;
  hadc1.Init.DataAlign = ADC_DATAALIGN_RIGHT;
  hadc1.Init.NbrOfConversion = 4;
  hadc1.Init.DMAContinuousRequests = ENABLE;
  hadc1.Init.EOCSelection = ADC_EOC_SINGLE_CONV;
  if (HAL_ADC_Init(&hadc1) != HAL_OK)
  {
    Error_Handler();
  }

  /** Configure for the selected ADC regular channel its corresponding rank in the sequencer and its sample time.
  */
  sConfig.Channel = ADC_CHANNEL_0;
  sConfig.Rank = 1;
  sConfig.SamplingTime = ADC_SAMPLETIME_15CYCLES;
  if (HAL_ADC_ConfigChannel(&hadc1, &sConfig) != HAL_OK)
  {
    Error_Handler();
  }

  /** Configure for the selected ADC regular channel its corresponding rank in the sequencer and its sample time.
  */
  sConfig.Channel = ADC_CHANNEL_1;
  sConfig.Rank = 2;
  if (HAL_ADC_ConfigChannel(&hadc1, &sConfig) != HAL_OK)
  {
    Error_Handler();
  }

  /** Configure for the selected ADC regular channel its corresponding rank in the sequencer and its sample time.
  */
  sConfig.Channel = ADC_CHANNEL_2;
  sConfig.Rank = 3;
  if (HAL_ADC_ConfigChannel(&hadc1, &sConfig) != HAL_OK)
  {
    Error_Handler();
  }

  /** Configure for the selected ADC regular channel its corresponding rank in the sequencer and its sample time.
  */
  sConfig.Channel = ADC_CHANNEL_3;
  sConfig.Rank = 4;
  if (HAL_ADC_ConfigChannel(&hadc1, &sConfig) != HAL_OK)
  {
    Error_Handler();
  }

}

static void MX_I2C1_Init(void)
{

  hi2c1.Instance = I2C1;
  hi2c1.Init.ClockSpeed = 100000;
  hi2c1.Init.DutyCycle = I2C_DUTYCYCLE_2;
  hi2c1.Init.OwnAddress1 = 0;
  hi2c1.Init.AddressingMode = I2C_ADDRESSINGMODE_7BIT;
  hi2c1.Init.DualAddressMode = I2C_DUALADDRESS_DISABLE;
  hi2c1.Init.OwnAddress2 = 0;
  hi2c1.Init.GeneralCallMode = I2C_GENERALCALL_DISABLE;
  hi2c1.Init.NoStretchMode = I2C_NOSTRETCH_DISABLE;
  if (HAL_I2C_Init(&hi2c1) != HAL_OK)
  {
    Error_Handler();
  }

}

static void MX_SPI1_Init(void)
{

  /* SPI1 parameter configuration*/
  hspi1.Instance = SPI1;
  hspi1.Init.Mode = SPI_MODE_MASTER;
  hspi1.Init.Direction = SPI_DIRECTION_2LINES;
  hspi1.Init.DataSize = SPI_DATASIZE_8BIT;
  hspi1.Init.CLKPolarity = SPI_POLARITY_LOW;
  hspi1.Init.CLKPhase = SPI_PHASE_1EDGE;
  hspi1.Init.NSS = SPI_NSS_SOFT;
  hspi1.Init.BaudRatePrescaler = SPI_BAUDRATEPRESCALER_32;
  hspi1.Init.FirstBit = SPI_FIRSTBIT_MSB;
  hspi1.Init.TIMode = SPI_TIMODE_DISABLE;
  hspi1.Init.CRCCalculation = SPI_CRCCALCULATION_DISABLE;
  hspi1.Init.CRCPolynomial = 10;
  if (HAL_SPI_Init(&hspi1) != HAL_OK)
  {
    Error_Handler();
  }

}

static void MX_SPI3_Init(void)
{

  /* SPI3 parameter configuration*/
  hspi3.Instance = SPI3;
  hspi3.Init.Mode = SPI_MODE_MASTER;
  hspi3.Init.Direction = SPI_DIRECTION_2LINES;
  hspi3.Init.DataSize = SPI_DATASIZE_8BIT;
  hspi3.Init.CLKPolarity = SPI_POLARITY_LOW;
  hspi3.Init.CLKPhase = SPI_PHASE_1EDGE;
  hspi3.Init.NSS = SPI_NSS_SOFT;
  hspi3.Init.BaudRatePrescaler = SPI_BAUDRATEPRESCALER_16;
  hspi3.Init.FirstBit = SPI_FIRSTBIT_MSB;
  hspi3.Init.TIMode = SPI_TIMODE_DISABLE;
  hspi3.Init.CRCCalculation = SPI_CRCCALCULATION_DISABLE;
  hspi3.Init.CRCPolynomial = 10;
  if (HAL_SPI_Init(&hspi3) != HAL_OK)
  {
    Error_Handler();
  }

}

static void MX_TIM1_Init(void)
{

  TIM_ClockConfigTypeDef sClockSourceConfig = {0};
  TIM_MasterConfigTypeDef sMasterConfig = {0};
  TIM_OC_InitTypeDef sConfigOC = {0};
  TIM_BreakDeadTimeConfigTypeDef sBreakDeadTimeConfig = {0};

  htim1.Instance = TIM1;
  htim1.Init.Prescaler = 167;
  htim1.Init.CounterMode = TIM_COUNTERMODE_UP;
  htim1.Init.Period = 19999;
  htim1.Init.ClockDivision = TIM_CLOCKDIVISION_DIV1;
  htim1.Init.RepetitionCounter = 0;
  htim1.Init.AutoReloadPreload = TIM_AUTORELOAD_PRELOAD_DISABLE;
  if (HAL_TIM_Base_Init(&htim1) != HAL_OK)
  {
    Error_Handler();
  }
  sClockSourceConfig.ClockSource = TIM_CLOCKSOURCE_INTERNAL;
  if (HAL_TIM_ConfigClockSource(&htim1, &sClockSourceConfig) != HAL_OK)
  {
    Error_Handler();
  }
  if (HAL_TIM_PWM_Init(&htim1) != HAL_OK)
  {
    Error_Handler();
  }
  sMasterConfig.MasterOutputTrigger = TIM_TRGO_RESET;
  sMasterConfig.MasterSlaveMode = TIM_MASTERSLAVEMODE_DISABLE;
  if (HAL_TIMEx_MasterConfigSynchronization(&htim1, &sMasterConfig) != HAL_OK)
  {
    Error_Handler();
  }
  sConfigOC.OCMode = TIM_OCMODE_PWM1;
  sConfigOC.Pulse = 0;
  sConfigOC.OCPolarity = TIM_OCPOLARITY_HIGH;
  sConfigOC.OCNPolarity = TIM_OCNPOLARITY_HIGH;
  sConfigOC.OCFastMode = TIM_OCFAST_DISABLE;
  sConfigOC.OCIdleState = TIM_OCIDLESTATE_RESET;
  sConfigOC.OCNIdleState = TIM_OCNIDLESTATE_RESET;
  if (HAL_TIM_PWM_ConfigChannel(&htim1, &sConfigOC, TIM_CHANNEL_1) != HAL_OK)
  {
    Error_Handler();
  }
  if (HAL_TIM_PWM_ConfigChannel(&htim1, &sConfigOC, TIM_CHANNEL_2) != HAL_OK)
  {
    Error_Handler();
  }
  if (HAL_TIM_PWM_ConfigChannel(&htim1, &sConfigOC, TIM_CHANNEL_3) != HAL_OK)
  {
    Error_Handler();
  }
  if (HAL_TIM_PWM_ConfigChannel(&htim1, &sConfigOC, TIM_CHANNEL_4) != HAL_OK)
  {
    Error_Handler();
  }
  sBreakDeadTimeConfig.OffStateRunMode = TIM_OSSR_DISABLE;
  sBreakDeadTimeConfig.OffStateIDLEMode = TIM_OSSI_DISABLE;
  sBreakDeadTimeConfig.LockLevel = TIM_LOCKLEVEL_OFF;
  sBreakDeadTimeConfig.DeadTime = 0;
  sBreakDeadTimeConfig.BreakState = TIM_BREAK_DISABLE;
  sBreakDeadTimeConfig.BreakPolarity = TIM_BREAKPOLARITY_HIGH;
  sBreakDeadTimeConfig.AutomaticOutput = TIM_AUTOMATICOUTPUT_DISABLE;
  if (HAL_TIMEx_ConfigBreakDeadTime(&htim1, &sBreakDeadTimeConfig) != HAL_OK)
  {
    Error_Handler();
  }
  HAL_TIM_MspPostInit(&htim1);

}

static void MX_TIM2_Init(void)
{

  TIM_ClockConfigTypeDef sClockSourceConfig = {0};
  TIM_MasterConfigTypeDef sMasterConfig = {0};

  htim2.Instance = TIM2;
  htim2.Init.Prescaler = 83;
  htim2.Init.CounterMode = TIM_COUNTERMODE_UP;
  htim2.Init.Period = 0xFFFFFFFF;
  htim2.Init.ClockDivision = TIM_CLOCKDIVISION_DIV1;
  htim2.Init.AutoReloadPreload = TIM_AUTORELOAD_PRELOAD_DISABLE;
  if (HAL_TIM_Base_Init(&htim2) != HAL_OK)
  {
    Error_Handler();
  }
  sClockSourceConfig.ClockSource = TIM_CLOCKSOURCE_INTERNAL;
  if (HAL_TIM_ConfigClockSource(&htim2, &sClockSourceConfig) != HAL_OK)
  {
    Error_Handler();
  }
  sMasterConfig.MasterOutputTrigger = TIM_TRGO_RESET;
  sMasterConfig.MasterSlaveMode = TIM_MASTERSLAVEMODE_DISABLE;
  if (HAL_TIMEx_MasterConfigSynchronization(&htim2, &sMasterConfig) != HAL_OK)
  {
    Error_Handler();
  }

}

static void MX_TIM3_Init(void)
{

  TIM_ClockConfigTypeDef sClockSourceConfig = {0};
  TIM_MasterConfigTypeDef sMasterConfig = {0};
  TIM_OC_InitTypeDef sConfigOC = {0};

  htim3.Instance = TIM3;
  htim3.Init.Prescaler = 83;
  htim3.Init.CounterMode = TIM_COUNTERMODE_UP;
  htim3.Init.Period = 19999;
  htim3.Init.ClockDivision = TIM_CLOCKDIVISION_DIV1;
  htim3.Init.AutoReloadPreload = TIM_AUTORELOAD_PRELOAD_DISABLE;
  if (HAL_TIM_Base_Init(&htim3) != HAL_OK)
  {
    Error_Handler();
  }
  sClockSourceConfig.ClockSource = TIM_CLOCKSOURCE_INTERNAL;
  if (HAL_TIM_ConfigClockSource(&htim3, &sClockSourceConfig) != HAL_OK)
  {
    Error_Handler();
  }
  if (HAL_TIM_PWM_Init(&htim3) != HAL_OK)
  {
    Error_Handler();
  }
  sMasterConfig.MasterOutputTrigger = TIM_TRGO_RESET;
  sMasterConfig.MasterSlaveMode = TIM_MASTERSLAVEMODE_DISABLE;
  if (HAL_TIMEx_MasterConfigSynchronization(&htim3, &sMasterConfig) != HAL_OK)
  {
    Error_Handler();
  }
  sConfigOC.OCMode = TIM_OCMODE_PWM1;
  sConfigOC.Pulse = 0;
  sConfigOC.OCPolarity = TIM_OCPOLARITY_HIGH;
  sConfigOC.OCFastMode = TIM_OCFAST_DISABLE;
  if (HAL_TIM_PWM_ConfigChannel(&htim3, &sConfigOC, TIM_CHANNEL_1) != HAL_OK)
  {
    Error_Handler();
  }
  if (HAL_TIM_PWM_ConfigChannel(&htim3, &sConfigOC, TIM_CHANNEL_2) != HAL_OK)
  {
    Error_Handler();
  }
  if (HAL_TIM_PWM_ConfigChannel(&htim3, &sConfigOC, TIM_CHANNEL_3) != HAL_OK)
  {
    Error_Handler();
  }
  if (HAL_TIM_PWM_ConfigChannel(&htim3, &sConfigOC, TIM_CHANNEL_4) != HAL_OK)
  {
    Error_Handler();
  }
  HAL_TIM_MspPostInit(&htim3);

}

static void MX_DMA_Init(void)
{

  /* DMA controller clock enable */
  __HAL_RCC_DMA2_CLK_ENABLE();
  __HAL_RCC_DMA1_CLK_ENABLE();

  /* DMA interrupt init */
  /* DMA1_Stream0_IRQn interrupt configuration */
  HAL_NVIC_SetPriority(DMA1_Stream0_IRQn, 0, 0);
  HAL_NVIC_EnableIRQ(DMA1_Stream0_IRQn);
  /* DMA1_Stream5_IRQn interrupt configuration */
  HAL_NVIC_SetPriority(DMA1_Stream5_IRQn, 0, 0);
  HAL_NVIC_EnableIRQ(DMA1_Stream5_IRQn);
  /* DMA2_Stream0_IRQn interrupt configuration */
  HAL_NVIC_SetPriority(DMA2_Stream0_IRQn, 0, 0);
  HAL_NVIC_EnableIRQ(DMA2_Stream0_IRQn);
  /* DMA2_Stream2_IRQn interrupt configuration */
  HAL_NVIC_SetPriority(DMA2_Stream2_IRQn, 0, 0);
  HAL_NVIC_EnableIRQ(DMA2_Stream2_IRQn);
  /* DMA2_Stream3_IRQn interrupt configuration */
  HAL_NVIC_SetPriority(DMA2_Stream3_IRQn, 0, 0);
  HAL_NVIC_EnableIRQ(DMA2_Stream3_IRQn);

}

static void MX_GPIO_Init(void)
{
  GPIO_InitTypeDef GPIO_InitStruct = {0};

  /* GPIO Ports Clock Enable */
  __HAL_RCC_GPIOC_CLK_ENABLE();
  __HAL_RCC_GPIOH_CLK_ENABLE();
  __HAL_RCC_GPIOA_CLK_ENABLE();
  __HAL_RCC_GPIOB_CLK_ENABLE();
  __HAL_RCC_GPIOD_CLK_ENABLE();

  /*Configure GPIO pin Output Level */
  HAL_GPIO_WritePin(GPIOC, GPIO_PIN_0|GPIO_PIN_1, GPIO_PIN_RESET);

  /*Configure GPIO pin Output Level */
  HAL_GPIO_WritePin(GPIOB, GPIO_PIN_10|GPIO_PIN_11|GPIO_PIN_12|GPIO_PIN_13
                          |GPIO_PIN_4, GPIO_PIN_RESET);

  /*Configure GPIO pin Output Level */
  HAL_GPIO_WritePin(GPIOA, GPIO_PIN_12|GPIO_PIN_15, GPIO_PIN_RESET);

  /*Configure GPIO pin Output Level */
  HAL_GPIO_WritePin(GPIOD, GPIO_PIN_2, GPIO_PIN_RESET);

  /*Configure GPIO pin : PC14 */
  GPIO_InitStruct.Pin = GPIO_PIN_14;
  GPIO_InitStruct.Mode = GPIO_MODE_IT_RISING;
  GPIO_InitStruct.Pull = GPIO_NOPULL;
  HAL_GPIO_Init(GPIOC, &GPIO_InitStruct);

  /*Configure GPIO pins : PC0 PC1 */
  GPIO_InitStruct.Pin = GPIO_PIN_0|GPIO_PIN_1;
  GPIO_InitStruct.Mode = GPIO_MODE_OUTPUT_PP;
  GPIO_InitStruct.Pull = GPIO_NOPULL;
  GPIO_InitStruct.Speed = GPIO_SPEED_FREQ_LOW;
  HAL_GPIO_Init(GPIOC, &GPIO_InitStruct);

  /*Configure GPIO pins : PB10 PB11 PB12 PB13
                           PB4 */
  GPIO_InitStruct.Pin = GPIO_PIN_10|GPIO_PIN_11|GPIO_PIN_12|GPIO_PIN_13
                          |GPIO_PIN_4;
  GPIO_InitStruct.Mode = GPIO_MODE_OUTPUT_PP;
  GPIO_InitStruct.Pull = GPIO_NOPULL;
  GPIO_InitStruct.Speed = GPIO_SPEED_FREQ_LOW;
  HAL_GPIO_Init(GPIOB, &GPIO_InitStruct);

  /*Configure GPIO pins : PB14 PB15 */
  GPIO_InitStruct.Pin = GPIO_PIN_14|GPIO_PIN_15;
  GPIO_InitStruct.Mode = GPIO_MODE_INPUT;
  GPIO_InitStruct.Pull = GPIO_PULLDOWN;
  HAL_GPIO_Init(GPIOB, &GPIO_InitStruct);

  /*Configure GPIO pins : PA12 PA15 */
  GPIO_InitStruct.Pin = GPIO_PIN_12|GPIO_PIN_15;
  GPIO_InitStruct.Mode = GPIO_MODE_OUTPUT_PP;
  GPIO_InitStruct.Pull = GPIO_NOPULL;
  GPIO_InitStruct.Speed = GPIO_SPEED_FREQ_LOW;
  HAL_GPIO_Init(GPIOA, &GPIO_InitStruct);

  /*Configure GPIO pin : PD2 */
  GPIO_InitStruct.Pin = GPIO_PIN_2;
  GPIO_InitStruct.Mode = GPIO_MODE_OUTPUT_PP;
  GPIO_InitStruct.Pull = GPIO_NOPULL;
  GPIO_InitStruct.Speed = GPIO_SPEED_FREQ_LOW;
  HAL_GPIO_Init(GPIOD, &GPIO_InitStruct);

  /*Configure GPIO pins : PB8 PB9 */
  GPIO_InitStruct.Pin = GPIO_PIN_8|GPIO_PIN_9;
  GPIO_InitStruct.Mode = GPIO_MODE_IT_RISING;
  GPIO_InitStruct.Pull = GPIO_NOPULL;
  HAL_GPIO_Init(GPIOB, &GPIO_InitStruct);

  /* EXTI interrupt init*/
  HAL_NVIC_SetPriority(EXTI9_5_IRQn, 0, 0);
  HAL_NVIC_EnableIRQ(EXTI9_5_IRQn);

  HAL_NVIC_SetPriority(EXTI15_10_IRQn, 0, 0);
  HAL_NVIC_EnableIRQ(EXTI15_10_IRQn);

}

void Error_Handler(void)
{
  __disable_irq();
   while (1)
  {
  }
}
